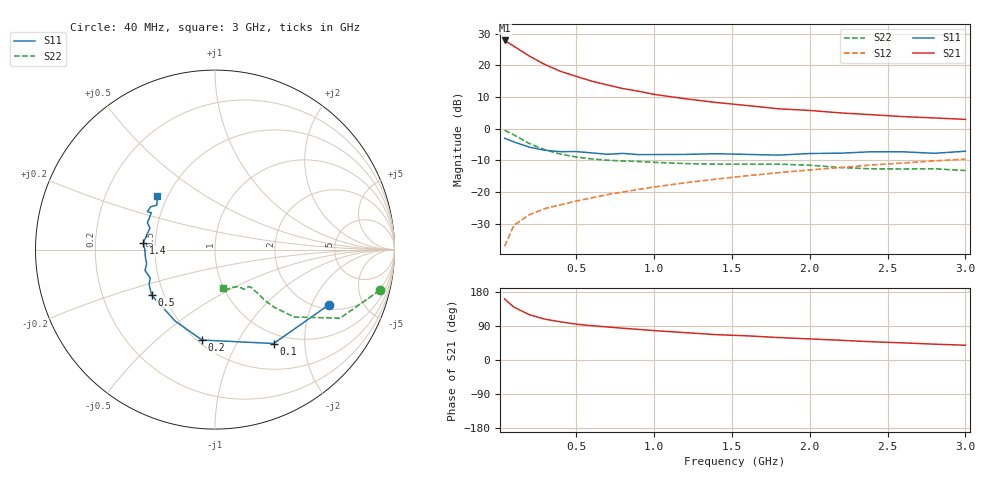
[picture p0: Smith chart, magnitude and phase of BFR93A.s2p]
! Filename:  BFR93AB.S2P  Version:  2.0
! Philips part #: BFR93A  Date: May 1990
! Bias condition: Vce=5V, Ic=10mA
#  MHz  S  MA  R  50
! Freq  S11  S21  S12  S22  !GUM [dB]
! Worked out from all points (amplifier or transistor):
!   21 points, 40 MHz to 3 GHz, reference 50 ohm
!   highest |S21| = 27.8 dB at 40 MHz (marker M1)
!   |S21| within 3 dB of that: start of sweep to 137.4 MHz
!   unconditionally stable (mu >= 1): 910.9 MHz to 2.916 GHz
!   at 300 MHz: K = 0.66, MSG = 22.7 dB, |S12| = -25.2 dB
!   at 1 GHz: K = 1.02, MAG = 13.7 dB, |S12| = -18.4 dB
!   at 3 GHz: K = 0.99, MSG = 6.3 dB, |S12| = -9.6 dB
!   S11 on the Smith chart (normalised r, x): 40 MHz: 2.19, -2.68; 100 MHz: 0.85, -1.44; 200 MHz: 0.53, -0.72; 500 MHz: 0.43, -0.27; 1.4 GHz: 0.43, +0.04; 3 GHz: 0.44, +0.33
40  0.704 -26.0  24.58 161.0  0.014 77.0  0.945 -13.9
100  0.617 -58.0  19.89 139.4  0.03 64.2  0.795 -28.7
200  0.509 -98.1  13.9 119.3  0.044 57.3  0.58 -40.4
300  0.456 -119.1  10.22 107.7  0.055 56.0  0.462 -44.2
400  0.433 -133.1  7.994 100.7  0.063 57.6  0.396 -45.6
500  0.435 -144.4  6.667 94.6  0.072 58.9  0.357 -45.6
600  0.414 -152.5  5.609 90.6  0.081 61.1  0.333 -45.7
700  0.394 -156.2  4.879 87.2  0.091 62.8  0.318 -46.0
800  0.407 -163.5  4.286 83.8  0.1 64.0  0.309 -45.7
900  0.389 -168.2  3.888 80.8  0.11 65.1  0.303 -46.0
1000  0.39 -173.0  3.469 77.6  0.12 66.0  0.294 -46.2
1200  0.392 179.2  2.959 72.2  0.14 66.8  0.281 -47.2
1400  0.402 175.0  2.583 66.9  0.16 67.1  0.275 -50.0
1600  0.392 170.1  2.312 63.7  0.181 67.5  0.275 -51.7
1800  0.382 161.7  2.053 59.3  0.202 67.0  0.275 -53.5
2000  0.405 158.4  1.935 55.6  0.223 66.8  0.265 -54.8
2200  0.41 149.9  1.767 52.0  0.244 66.5  0.243 -57.7
2400  0.432 150.7  1.656 48.1  0.267 65.4  0.232 -64.9
2600  0.431 146.4  1.547 45.2  0.287 64.1  0.231 -71.0
2800  0.408 142.6  1.474 41.8  0.31 63.5  0.233 -74.8
3000  0.44 136.9  1.399 39.0  0.331 61.8  0.218 -77.7
